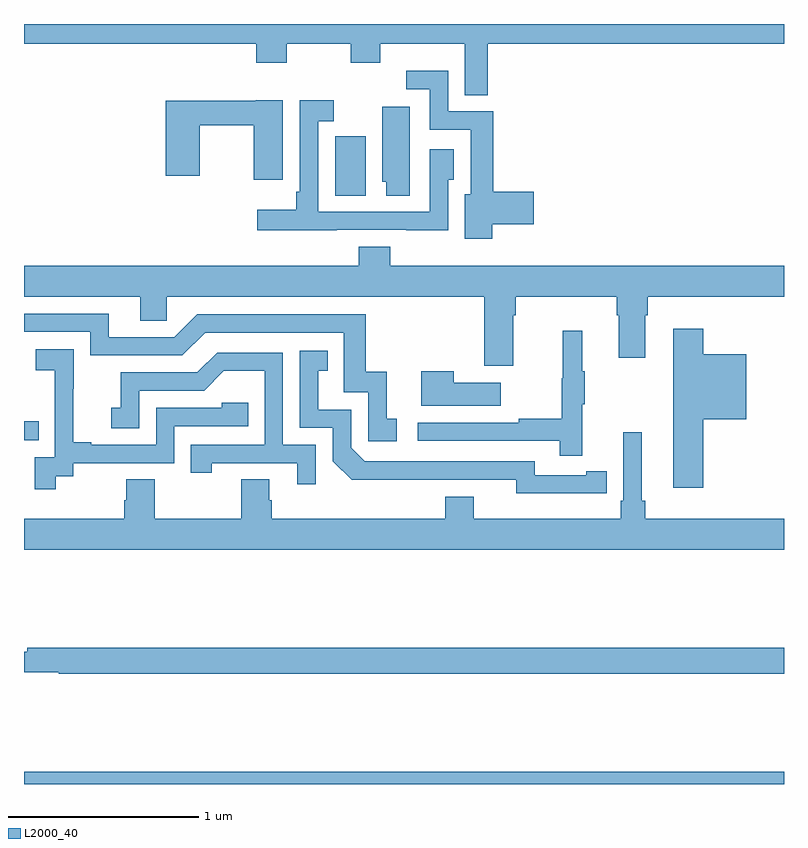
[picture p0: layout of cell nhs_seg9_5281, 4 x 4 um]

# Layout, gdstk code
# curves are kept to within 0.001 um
import gdstk
lib = gdstk.Library(unit=1e-6, precision=1e-09)
def R(c, l, rs):  # rectangles x0, y0, x1, y1
    for r in rs: c.add(gdstk.rectangle(r[:2], r[2:], *l))
def P(c, l, *ps):  # polygons
    for p in ps: c.add(gdstk.Polygon(p, *l))
L2000_40 = (2000, 40)

nhs_seg9_5281 = lib.new_cell('nhs_seg9_5281')
R(nhs_seg9_5281, L2000_40, [(417,1216.5,421,1216.564), (417,1218.309,417.077,1218.41), (418.637,1219.597,418.798,1219.908)])
P(nhs_seg9_5281, L2000_40, [(419.44,1220.396),(421,1220.396),(421,1220.5),(417,1220.5),(417,1220.396),(418.223,1220.396),(418.223,1220.297),(418.383,1220.297),(418.383,1220.396),(418.72,1220.396),(418.72,1220.297),(418.875,1220.297),(418.875,1220.396),(419.321,1220.396),(419.321,1220.125),(419.44,1220.125)],
  [(419.465,1219.445),(419.683,1219.445),(419.683,1219.616),(419.47,1219.616),(419.47,1220.04),(419.232,1220.04),(419.232,1220.254),(419.013,1220.254),(419.013,1220.157),(419.136,1220.157),(419.136,1219.944),(419.351,1219.944),(419.351,1219.603),(419.321,1219.603),(419.321,1219.371),(419.465,1219.371)],
  [(418.363,1220.098),(418.221,1220.098),(418.221,1220.095),(417.746,1220.095),(417.746,1219.701),(417.924,1219.701),(417.924,1219.966),(418.21,1219.966),(418.21,1219.68),(418.363,1219.68)],
  [(418.645,1219.416),(419.011,1219.416),(419.011,1219.415),(419.232,1219.415),(419.232,1219.681),(419.263,1219.681),(419.263,1219.84),(419.136,1219.84),(419.136,1219.512),(418.548,1219.512),(418.548,1219.989),(418.63,1219.989),(418.63,1220.098),(418.452,1220.098),(418.452,1219.618),(418.432,1219.618),(418.432,1219.522),(418.227,1219.522),(418.227,1219.415),(418.645,1219.415)],
  [(419.029,1220.065),(418.886,1220.065),(418.886,1219.671),(418.907,1219.671),(418.907,1219.597),(419.029,1219.597)],
  [(419.575,1218.968),(419.588,1218.968),(419.588,1219.064),(420.119,1219.064),(420.119,1218.968),(420.131,1218.968),(420.131,1218.744),(420.271,1218.744),(420.271,1218.968),(420.284,1218.968),(420.284,1219.064),(421,1219.064),(421,1219.228),(418.928,1219.228),(418.928,1219.327),(418.763,1219.327),(418.763,1219.228),(417,1219.228),(417,1219.064),(417.611,1219.064),(417.611,1218.937),(417.75,1218.937),(417.75,1219.064),(419.423,1219.064),(419.423,1218.702),(419.575,1218.702)],
  [(418.963,1218.423),(418.91,1218.423),(418.91,1218.67),(418.799,1218.67),(418.799,1218.972),(417.912,1218.972),(417.792,1218.852),(417.445,1218.852),(417.445,1218.975),(417,1218.975),(417,1218.879),(417.348,1218.879),(417.348,1218.756),(417.834,1218.756),(417.954,1218.876),(418.683,1218.876),(418.683,1218.561),(418.812,1218.561),(418.812,1218.303),(418.963,1218.303)],
  [(420.575,1218.419),(420.802,1218.419),(420.802,1218.763),(420.575,1218.763),(420.575,1218.895),(420.416,1218.895),(420.416,1218.06),(420.575,1218.06)],
  [(419.939,1218.499),(419.95,1218.499),(419.95,1218.673),(419.939,1218.673),(419.939,1218.886),(419.836,1218.886),(419.836,1218.636),(419.829,1218.636),(419.829,1218.422),(419.605,1218.422),(419.605,1218.402),(419.073,1218.402),(419.073,1218.306),(419.821,1218.306),(419.821,1218.228),(419.939,1218.228)],
  [(417.166,1218.121),(417.258,1218.121),(417.258,1218.189),(417.792,1218.189),(417.792,1218.384),(418.181,1218.384),(418.181,1218.507),(418.041,1218.507),(418.041,1218.48),(417.696,1218.48),(417.696,1218.285),(417.355,1218.285),(417.355,1218.298),(417.26,1218.298),(417.26,1218.581),(417.261,1218.581),(417.261,1218.787),(417.063,1218.787),(417.063,1218.677),(417.161,1218.677),(417.161,1218.449),(417.162,1218.449),(417.162,1218.219),(417.057,1218.219),(417.057,1218.051),(417.166,1218.051)],
  [(419.96,1218.03),(420.068,1218.03),(420.068,1218.146),(419.96,1218.146),(419.96,1218.126),(419.688,1218.126),(419.688,1218.198),(418.794,1218.198),(418.722,1218.27),(418.722,1218.471),(418.549,1218.471),(418.549,1218.675),(418.598,1218.675),(418.598,1218.781),(418.452,1218.781),(418.452,1218.375),(418.626,1218.375),(418.626,1218.198),(418.724,1218.101),(419.592,1218.102),(419.592,1218.029)],
  [(418.536,1218.285),(418.362,1218.285),(418.362,1218.771),(418.016,1218.771),(417.911,1218.666),(417.508,1218.666),(417.508,1218.481),(417.459,1218.481),(417.459,1218.372),(417.606,1218.372),(417.606,1218.57),(417.948,1218.57),(418.052,1218.674),(418.266,1218.674),(418.266,1218.285),(417.877,1218.285),(417.877,1218.138),(417.988,1218.138),(417.988,1218.189),(418.439,1218.189),(418.439,1218.078),(418.536,1218.078)],
  [(419.509,1218.613),(419.261,1218.613),(419.261,1218.673),(419.09,1218.673),(419.09,1218.491),(419.509,1218.491)],
  [(419.216,1218.013),(419.216,1217.896),(418.304,1217.896),(418.304,1217.994),(418.291,1217.994),(418.291,1218.104),(418.144,1218.104),(418.144,1217.896),(417.687,1217.896),(417.687,1218.104),(417.539,1218.104),(417.539,1217.994),(417.527,1217.994),(417.527,1217.896),(417,1217.896),(417,1217.732),(421,1217.732),(421,1217.896),(420.269,1217.896),(420.269,1217.992),(420.25,1217.992),(420.25,1218.352),(420.153,1218.352),(420.153,1217.992),(420.14,1217.992),(420.14,1217.896),(419.368,1217.896),(419.368,1218.013)],
  [(421,1217.216),(417.016,1217.216),(417.016,1217.197),(417,1217.197),(417,1217.088),(417.182,1217.088),(417.182,1217.08),(421,1217.08)])

lib.write_gds('nhs_seg9_5281.gds')
